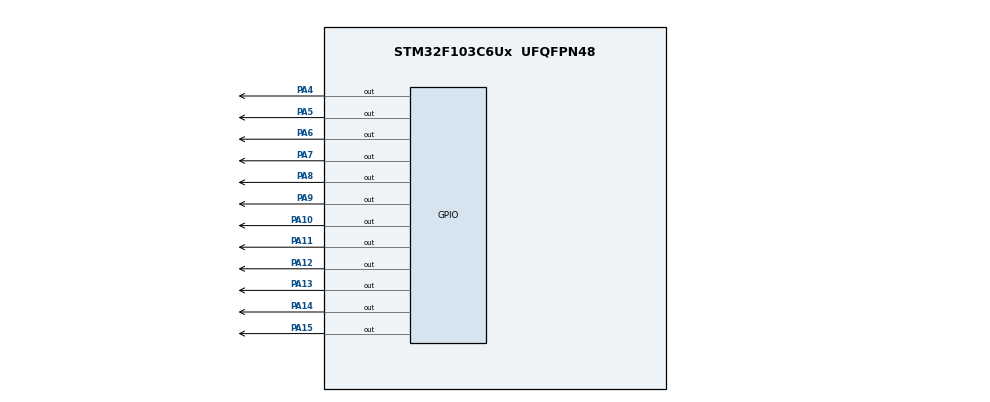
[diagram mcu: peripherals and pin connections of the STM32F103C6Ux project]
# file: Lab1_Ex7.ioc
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Mcu.Family=STM32F1
Mcu.Name=STM32F103C6Ux
Mcu.Package=UFQFPN48
NVIC.PriorityGroup=NVIC_PRIORITYGROUP_4
PA10.Signal=GPIO_Output
PA11.Signal=GPIO_Output
PA12.Signal=GPIO_Output
PA13.Signal=GPIO_Output
PA14.Signal=GPIO_Output
PA15.Signal=GPIO_Output
PA4.Signal=GPIO_Output
PA5.Signal=GPIO_Output
PA6.Signal=GPIO_Output
PA7.Signal=GPIO_Output
PA8.Signal=GPIO_Output
PA9.Signal=GPIO_Output
ProjectManager.HeapSize=0x200
ProjectManager.StackSize=0x400
ProjectManager.TargetToolchain=STM32CubeIDE
RCC.APB1Freq_Value=8000000
RCC.APB2Freq_Value=8000000
VP_SYS_VS_ND.Mode=No_Debug
board=custom

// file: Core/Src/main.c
/* USER CODE BEGIN Header */
/**
  ******************************************************************************
  * @file           : main.c
  * @brief          : Main program body
  ******************************************************************************
  * @attention
  *
  * <h2><center>&copy; Copyright (c) 2024 STMicroelectronics.
  * All rights reserved.</center></h2>
  *
  * This software component is licensed by ST under BSD 3-Clause license,
  * the "License"; You may not use this file except in compliance with the
  * License. You may obtain a copy of the License at:
  *                        opensource.org/licenses/BSD-3-Clause
  *
  ******************************************************************************
  */
/* USER CODE END Header */
#include "main.h"

/* USER CODE BEGIN PV */
uint16_t ledNumber[] = {GPIO_PIN_4, GPIO_PIN_5, GPIO_PIN_6, GPIO_PIN_7, GPIO_PIN_8, GPIO_PIN_9, GPIO_PIN_10, GPIO_PIN_11, GPIO_PIN_12, GPIO_PIN_13, GPIO_PIN_14, GPIO_PIN_15};
/* USER CODE END PV */

void SystemClock_Config(void);
static void MX_GPIO_Init(void);
/* USER CODE BEGIN PFP */
void clearAllClock();
void clearNumberOnClock(int num);
void setNumberOnClock(int num);
/* USER CODE END PFP */

/* USER CODE BEGIN 0 */
int second = 0;
int minute = 0;
int hour = 0;

/* USER CODE END 0 */

int main(void)
{

  /* MCU Configuration--------------------------------------------------------*/

  /* Reset of all peripherals, Initializes the Flash interface and the Systick. */
  HAL_Init();

  /* Configure the system clock */
  SystemClock_Config();

  /* Initialize all configured peripherals */
  MX_GPIO_Init();
  /* USER CODE BEGIN 2 */
  clearAllClock();
  /* USER CODE END 2 */

  /* Infinite loop */
  /* USER CODE BEGIN WHILE */
  while (1)
  {
	 HAL_Delay(10);

	 second++;
	 if (second >= 60){
		 clearNumberOnClock(second/5 - 1);
		 second = 0;
		 minute++;
		 if (minute >= 60){
			 clearNumberOnClock(minute/5 - 1);
			 minute = 0;
			 hour++;
			 if(hour >= 12){
				 clearNumberOnClock(hour - 1);
				 hour = 0;
			 }
		 }
	 }
	 clearNumberOnClock(hour - 1);
	 clearNumberOnClock(minute/5 - 1);
	 clearNumberOnClock(second/5 - 1);
	 setNumberOnClock(hour);
	 setNumberOnClock(minute/5);
	 setNumberOnClock(second/5);
    /* USER CODE END WHILE */

  }
}

void SystemClock_Config(void)
{
  RCC_OscInitTypeDef RCC_OscInitStruct = {0};
  RCC_ClkInitTypeDef RCC_ClkInitStruct = {0};

  /** Initializes the RCC Oscillators according to the specified parameters
  * in the RCC_OscInitTypeDef structure.
  */
  RCC_OscInitStruct.OscillatorType = RCC_OSCILLATORTYPE_HSI;
  RCC_OscInitStruct.HSIState = RCC_HSI_ON;
  RCC_OscInitStruct.HSICalibrationValue = RCC_HSICALIBRATION_DEFAULT;
  RCC_OscInitStruct.PLL.PLLState = RCC_PLL_NONE;
  if (HAL_RCC_OscConfig(&RCC_OscInitStruct) != HAL_OK)
  {
    Error_Handler();
  }
  /** Initializes the CPU, AHB and APB buses clocks
  */
  RCC_ClkInitStruct.ClockType = RCC_CLOCKTYPE_HCLK|RCC_CLOCKTYPE_SYSCLK
                              |RCC_CLOCKTYPE_PCLK1|RCC_CLOCKTYPE_PCLK2;
  RCC_ClkInitStruct.SYSCLKSource = RCC_SYSCLKSOURCE_HSI;
  RCC_ClkInitStruct.AHBCLKDivider = RCC_SYSCLK_DIV1;
  RCC_ClkInitStruct.APB1CLKDivider = RCC_HCLK_DIV1;
  RCC_ClkInitStruct.APB2CLKDivider = RCC_HCLK_DIV1;

  if (HAL_RCC_ClockConfig(&RCC_ClkInitStruct, FLASH_LATENCY_0) != HAL_OK)
  {
    Error_Handler();
  }
}

static void MX_GPIO_Init(void)
{
  GPIO_InitTypeDef GPIO_InitStruct = {0};

  /* GPIO Ports Clock Enable */
  __HAL_RCC_GPIOA_CLK_ENABLE();

  /*Configure GPIO pin Output Level */
  HAL_GPIO_WritePin(GPIOA, GPIO_PIN_4|GPIO_PIN_5|GPIO_PIN_6|GPIO_PIN_7
                          |GPIO_PIN_8|GPIO_PIN_9|GPIO_PIN_10|GPIO_PIN_11
                          |GPIO_PIN_12|GPIO_PIN_13|GPIO_PIN_14|GPIO_PIN_15, GPIO_PIN_RESET);

  /*Configure GPIO pins : PA4 PA5 PA6 PA7
                           PA8 PA9 PA10 PA11
                           PA12 PA13 PA14 PA15 */
  GPIO_InitStruct.Pin = GPIO_PIN_4|GPIO_PIN_5|GPIO_PIN_6|GPIO_PIN_7
                          |GPIO_PIN_8|GPIO_PIN_9|GPIO_PIN_10|GPIO_PIN_11
                          |GPIO_PIN_12|GPIO_PIN_13|GPIO_PIN_14|GPIO_PIN_15;
  GPIO_InitStruct.Mode = GPIO_MODE_OUTPUT_PP;
  GPIO_InitStruct.Pull = GPIO_NOPULL;
  GPIO_InitStruct.Speed = GPIO_SPEED_FREQ_LOW;
  HAL_GPIO_Init(GPIOA, &GPIO_InitStruct);

}

/* USER CODE BEGIN 4 */
void clearAllClock(void){
	for (int i = 0; i < 12; i++) HAL_GPIO_WritePin(GPIOA, ledNumber[i], GPIO_PIN_RESET);
}
void setNumberOnClock(int num){
	//if (num >= 0 && num < 12) {
		//HAL_GPIO_WritePin(GPIOA, ledNumber[num], GPIO_PIN_SET);
		switch(num)
			{
				case 0:
					HAL_GPIO_WritePin(GPIOA, GPIO_PIN_4, GPIO_PIN_SET);
					break;
				case 1:
					HAL_GPIO_WritePin(GPIOA, GPIO_PIN_5, GPIO_PIN_SET);
					break;
				case 2:
					HAL_GPIO_WritePin(GPIOA, GPIO_PIN_6, GPIO_PIN_SET);
					break;
				case 3:
					HAL_GPIO_WritePin(GPIOA, GPIO_PIN_7, GPIO_PIN_SET);
					break;
				case 4:
					HAL_GPIO_WritePin(GPIOA, GPIO_PIN_8, GPIO_PIN_SET);
					break;
				case 5:
					HAL_GPIO_WritePin(GPIOA, GPIO_PIN_9, GPIO_PIN_SET);
					break;
				case 6:
					HAL_GPIO_WritePin(GPIOA, GPIO_PIN_10, GPIO_PIN_SET);
					break;
				case 7:
					HAL_GPIO_WritePin(GPIOA, GPIO_PIN_11, GPIO_PIN_SET);
					break;
				case 8:
					HAL_GPIO_WritePin(GPIOA, GPIO_PIN_12, GPIO_PIN_SET);
					break;
				case 9:
					HAL_GPIO_WritePin(GPIOA, GPIO_PIN_13, GPIO_PIN_SET);
					break;
				case 10:
					HAL_GPIO_WritePin(GPIOA, GPIO_PIN_14, GPIO_PIN_SET);
					break;
				case 11:
					HAL_GPIO_WritePin(GPIOA, GPIO_PIN_15, GPIO_PIN_SET);
					break;
			}
}
void clearNumberOnClock(int num){
	//if (num >= 0 && num < 12) {
		//HAL_GPIO_WritePin(GPIOA, ledNumber[num], GPIO_PIN_RESET);
	//}
	switch(num)
				{
					case 0:
						HAL_GPIO_WritePin(GPIOA, GPIO_PIN_4, GPIO_PIN_RESET);
						break;
					case 1:
						HAL_GPIO_WritePin(GPIOA, GPIO_PIN_5, GPIO_PIN_RESET);
						break;
					case 2:
						HAL_GPIO_WritePin(GPIOA, GPIO_PIN_6, GPIO_PIN_RESET);
						break;
					case 3:
						HAL_GPIO_WritePin(GPIOA, GPIO_PIN_7, GPIO_PIN_RESET);
						break;
					case 4:
						HAL_GPIO_WritePin(GPIOA, GPIO_PIN_8, GPIO_PIN_RESET);
						break;
					case 5:
						HAL_GPIO_WritePin(GPIOA, GPIO_PIN_9, GPIO_PIN_RESET);
						break;
					case 6:
						HAL_GPIO_WritePin(GPIOA, GPIO_PIN_10, GPIO_PIN_RESET);
						break;
					case 7:
						HAL_GPIO_WritePin(GPIOA, GPIO_PIN_11, GPIO_PIN_RESET);
						break;
					case 8:
						HAL_GPIO_WritePin(GPIOA, GPIO_PIN_12, GPIO_PIN_RESET);
						break;
					case 9:
						HAL_GPIO_WritePin(GPIOA, GPIO_PIN_13, GPIO_PIN_RESET);
						break;
					case 10:
						HAL_GPIO_WritePin(GPIOA, GPIO_PIN_14, GPIO_PIN_RESET);
						break;
					case 11:
						HAL_GPIO_WritePin(GPIOA, GPIO_PIN_15, GPIO_PIN_RESET);
						break;
				}
}
/* USER CODE END 4 */

void Error_Handler(void)
{
  __disable_irq();
  while (1)
  {
  }
}

/************************ (C) COPYRIGHT STMicroelectronics *****END OF FILE****/
